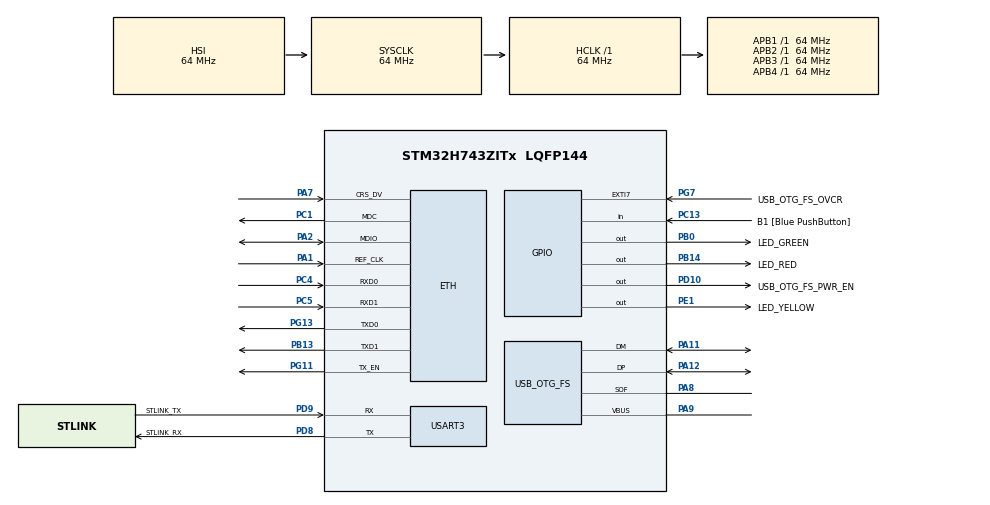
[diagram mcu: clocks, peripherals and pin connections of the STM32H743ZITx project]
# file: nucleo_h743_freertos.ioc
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ETH.MediaInterface=HAL_ETH_RMII_MODE
FREERTOS.Tasks01=defaultTask,24,128,StartDefaultTask,Default,NULL,Dynamic,NULL,NULL
FREERTOS.Timers01=om_trace_timer,om_trace_timer_cb,osTimerPeriodic,Default,NULL,Dynamic,NULL
FREERTOS.configTIMER_TASK_PRIORITY=25
Mcu.Family=STM32H7
Mcu.Name=STM32H743ZITx
Mcu.Package=LQFP144
NVIC.PriorityGroup=NVIC_PRIORITYGROUP_4
NVIC.TIM6_DAC_IRQn=true\:15\:0\:false\:false\:true\:false\:false\:true\:true
NVIC.TimeBase=TIM6_DAC_IRQn
NVIC.TimeBaseIP=TIM6
PA1.Mode=RMII
PA1.Signal=ETH_REF_CLK
PA11.Mode=Device_Only
PA11.Signal=USB_OTG_FS_DM
PA12.Mode=Device_Only
PA12.Signal=USB_OTG_FS_DP
PA2.Mode=RMII
PA2.Signal=ETH_MDIO
PA7.Mode=RMII
PA7.Signal=ETH_CRS_DV
PA8.Mode=Activate_SOF_FS
PA8.Signal=USB_OTG_FS_SOF
PA9.Mode=Activate_VBUS
PA9.Signal=USB_OTG_FS_VBUS
PB0.GPIO_Label=LED_GREEN
PB0.Signal=GPIO_Output
PB13.Mode=RMII
PB13.Signal=ETH_TXD1
PB14.GPIO_Label=LED_RED
PB14.Signal=GPIO_Output
PC1.Mode=RMII
PC1.Signal=ETH_MDC
PC13.GPIO_Label=B1 [Blue PushButton]
PC13.Signal=GPIO_Input
PC14-OSC32_IN\ (OSC32_IN).Mode=LSE-External-Oscillator
PC14-OSC32_IN\ (OSC32_IN).Signal=RCC_OSC32_IN
PC15-OSC32_OUT\ (OSC32_OUT).Mode=LSE-External-Oscillator
PC15-OSC32_OUT\ (OSC32_OUT).Signal=RCC_OSC32_OUT
PC4.Mode=RMII
PC4.Signal=ETH_RXD0
PC5.Mode=RMII
PC5.Signal=ETH_RXD1
PD10.GPIO_Label=USB_OTG_FS_PWR_EN
PD10.Signal=GPIO_Output
PD8.GPIO_Label=STLINK_RX
PD8.Mode=Asynchronous
PD8.Signal=USART3_TX
PD9.GPIO_Label=STLINK_TX
PD9.Mode=Asynchronous
PD9.Signal=USART3_RX
PE1.GPIO_Label=LED_YELLOW
PE1.Signal=GPIO_Output
PG11.Mode=RMII
PG11.Signal=ETH_TX_EN
PG13.Mode=RMII
PG13.Signal=ETH_TXD0
PG7.GPIO_Label=USB_OTG_FS_OVCR
PG7.Signal=GPXTI7
PH0-OSC_IN\ (PH0).Mode=HSE-External-Clock-Source
PH0-OSC_IN\ (PH0).Signal=RCC_OSC_IN
PH1-OSC_OUT\ (PH1).Signal=RCC_OSC_OUT
ProjectManager.HeapSize=0x200
ProjectManager.StackSize=0x400
ProjectManager.TargetToolchain=Makefile
RCC.ADCFreq_Value=16125000
RCC.APB1Freq_Value=64000000
RCC.APB2Freq_Value=64000000
RCC.APB3Freq_Value=64000000
RCC.APB4Freq_Value=64000000
RCC.CortexFreq_Value=64000000
RCC.DIVM1=1
RCC.DIVN1=24
RCC.DIVQ1=4
RCC.HCLKFreq_Value=64000000
RCC.HSE_VALUE=8000000
RCC.PLLFRACN=0
RCC.PWR_Regulator_Voltage_Scale=PWR_REGULATOR_VOLTAGE_SCALE2
RCC.SYSCLKFreq_VALUE=64000000
RCC.USBFreq_Value=48000000
USART3.VirtualMode-Asynchronous=VM_ASYNC
USB_OTG_FS.VirtualMode=Device_Only
VP_FREERTOS_VS_CMSIS_V2.Mode=CMSIS_V2
VP_SYS_VS_tim6.Mode=TIM6
board=NUCLEO-H743ZI2

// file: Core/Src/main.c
/* USER CODE BEGIN Header */
/**
  ******************************************************************************
  * @file           : main.c
  * @brief          : Main program body
  ******************************************************************************
  * @attention
  *
  * Copyright (c) 2023 STMicroelectronics.
  * All rights reserved.
  *
  * This software is licensed under terms that can be found in the LICENSE file
  * in the root directory of this software component.
  * If no LICENSE file comes with this software, it is provided AS-IS.
  *
  ******************************************************************************
  */
/* USER CODE END Header */
#include "main.h"
#include "cmsis_os.h"
#include "eth.h"
#include "usart.h"
#include "usb_otg.h"
#include "gpio.h"

void SystemClock_Config(void);
void MX_FREERTOS_Init(void);

int main(void)
{

  /* MCU Configuration--------------------------------------------------------*/

  /* Reset of all peripherals, Initializes the Flash interface and the Systick. */
  HAL_Init();

  /* Configure the system clock */
  SystemClock_Config();

  /* Initialize all configured peripherals */
  MX_GPIO_Init();
  MX_ETH_Init();
  MX_USART3_UART_Init();
  MX_USB_OTG_FS_PCD_Init();

  /* Init scheduler */
  osKernelInitialize();  /* Call init function for freertos objects (in freertos.c) */
  MX_FREERTOS_Init();

  /* Start scheduler */
  osKernelStart();

  /* We should never get here as control is now taken by the scheduler */
  /* Infinite loop */
  while (1)
  {

  }
}

void SystemClock_Config(void)
{
  RCC_OscInitTypeDef RCC_OscInitStruct = {0};
  RCC_ClkInitTypeDef RCC_ClkInitStruct = {0};

  /** Supply configuration update enable
  */
  HAL_PWREx_ConfigSupply(PWR_LDO_SUPPLY);

  /** Configure the main internal regulator output voltage
  */
  __HAL_PWR_VOLTAGESCALING_CONFIG(PWR_REGULATOR_VOLTAGE_SCALE2);

  while(!__HAL_PWR_GET_FLAG(PWR_FLAG_VOSRDY)) {}

  /** Initializes the RCC Oscillators according to the specified parameters
  * in the RCC_OscInitTypeDef structure.
  */
  RCC_OscInitStruct.OscillatorType = RCC_OSCILLATORTYPE_HSI|RCC_OSCILLATORTYPE_HSE;
  RCC_OscInitStruct.HSEState = RCC_HSE_BYPASS;
  RCC_OscInitStruct.HSIState = RCC_HSI_DIV1;
  RCC_OscInitStruct.HSICalibrationValue = RCC_HSICALIBRATION_DEFAULT;
  RCC_OscInitStruct.PLL.PLLState = RCC_PLL_ON;
  RCC_OscInitStruct.PLL.PLLSource = RCC_PLLSOURCE_HSE;
  RCC_OscInitStruct.PLL.PLLM = 1;
  RCC_OscInitStruct.PLL.PLLN = 24;
  RCC_OscInitStruct.PLL.PLLP = 2;
  RCC_OscInitStruct.PLL.PLLQ = 4;
  RCC_OscInitStruct.PLL.PLLR = 2;
  RCC_OscInitStruct.PLL.PLLRGE = RCC_PLL1VCIRANGE_3;
  RCC_OscInitStruct.PLL.PLLVCOSEL = RCC_PLL1VCOWIDE;
  RCC_OscInitStruct.PLL.PLLFRACN = 0;
  if (HAL_RCC_OscConfig(&RCC_OscInitStruct) != HAL_OK)
  {
    Error_Handler();
  }

  /** Initializes the CPU, AHB and APB buses clocks
  */
  RCC_ClkInitStruct.ClockType = RCC_CLOCKTYPE_HCLK|RCC_CLOCKTYPE_SYSCLK
                              |RCC_CLOCKTYPE_PCLK1|RCC_CLOCKTYPE_PCLK2
                              |RCC_CLOCKTYPE_D3PCLK1|RCC_CLOCKTYPE_D1PCLK1;
  RCC_ClkInitStruct.SYSCLKSource = RCC_SYSCLKSOURCE_HSI;
  RCC_ClkInitStruct.SYSCLKDivider = RCC_SYSCLK_DIV1;
  RCC_ClkInitStruct.AHBCLKDivider = RCC_HCLK_DIV1;
  RCC_ClkInitStruct.APB3CLKDivider = RCC_APB3_DIV1;
  RCC_ClkInitStruct.APB1CLKDivider = RCC_APB1_DIV1;
  RCC_ClkInitStruct.APB2CLKDivider = RCC_APB2_DIV1;
  RCC_ClkInitStruct.APB4CLKDivider = RCC_APB4_DIV1;

  if (HAL_RCC_ClockConfig(&RCC_ClkInitStruct, FLASH_LATENCY_1) != HAL_OK)
  {
    Error_Handler();
  }
}

void HAL_TIM_PeriodElapsedCallback(TIM_HandleTypeDef *htim)
{
  if (htim->Instance == TIM6) {
    HAL_IncTick();
  }
}

void Error_Handler(void)
{
  __disable_irq();
  while (1)
  {
  }
}

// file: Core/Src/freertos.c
/* USER CODE BEGIN Header */
/**
  ******************************************************************************
  * File Name          : freertos.c
  * Description        : Code for freertos applications
  ******************************************************************************
  * @attention
  *
  * Copyright (c) 2023 STMicroelectronics.
  * All rights reserved.
  *
  * This software is licensed under terms that can be found in the LICENSE file
  * in the root directory of this software component.
  * If no LICENSE file comes with this software, it is provided AS-IS.
  *
  ******************************************************************************
  */
/* USER CODE END Header */

#include "FreeRTOS.h"
#include "task.h"
#include "main.h"
#include "cmsis_os.h"

/* USER CODE BEGIN Includes */
#include <stdio.h>
#include <string.h>
#include "application.h"
#include "om.h"
#include "usart.h"

/* USER CODE END Includes */

/* USER CODE BEGIN PD */
#define OM_TRACE_TICK_MSEC 100
/* USER CODE END PD */

/* Definitions for defaultTask */
osThreadId_t defaultTaskHandle;
const osThreadAttr_t defaultTask_attributes = {
  .name = "defaultTask",
  .stack_size = 128 * 4,
  .priority = (osPriority_t) osPriorityNormal,
};
/* Definitions for om_trace_timer */
osTimerId_t om_trace_timerHandle;
const osTimerAttr_t om_trace_timer_attributes = {
  .name = "om_trace_timer"
};

/* USER CODE BEGIN FunctionPrototypes */
// Printf Support
//#if defined(__GNUC__)
int _write(int fd, char * ptr, int len)
{
  HAL_UART_Transmit(&huart3, (uint8_t *) ptr, len, HAL_MAX_DELAY);
  return len;
}
//#endif

/* USER CODE END FunctionPrototypes */

void StartDefaultTask(void *argument);
void om_trace_timer_cb(void *argument);

void MX_FREERTOS_Init(void); /* (MISRA C 2004 rule 8.1) */

void MX_FREERTOS_Init(void) {

  /* Create the timer(s) */
  /* creation of om_trace_timer */
  om_trace_timerHandle = osTimerNew(om_trace_timer_cb, osTimerPeriodic, NULL, &om_trace_timer_attributes);

  /* Create the thread(s) */
  /* creation of defaultTask */
  defaultTaskHandle = osThreadNew(StartDefaultTask, NULL, &defaultTask_attributes);

  /* USER CODE BEGIN RTOS_THREADS */
  application_start(osPriorityNormal);

  // Start Trace timer
  osTimerStart(om_trace_timerHandle, OM_TRACE_TICK_MSEC);
  /* USER CODE END RTOS_THREADS */

}

void StartDefaultTask(void *argument)
{
  /* USER CODE BEGIN StartDefaultTask */
  printf("\n\n\n");
  printf("***************************************\n");
  printf("*** Blinky Example on FreeRTOS      ***\n");
  printf("***************************************\n");

  /* Infinite loop */
  OmTraceLogEntry trace_record;

  for(;;)
  {
    if(om_trace_is_full(&application_trace))
    {
      printf("WARNING!! Blinky Trace is Full!\n");
    }
    if(om_trace_read(&application_trace, &trace_record))
    {
      printf("%lu:%s\n", (uint32_t)trace_record.timestamp_usec, trace_record.message);
    }

    osDelay(10);
  }
  /* USER CODE END StartDefaultTask */
}

/* om_trace_timer_cb function */
void om_trace_timer_cb(void *argument)
{
  /* USER CODE BEGIN om_trace_timer_cb */
  om_trace_tick(&application_trace, OM_TRACE_TICK_MSEC * 1000);
  /* USER CODE END om_trace_timer_cb */
}
